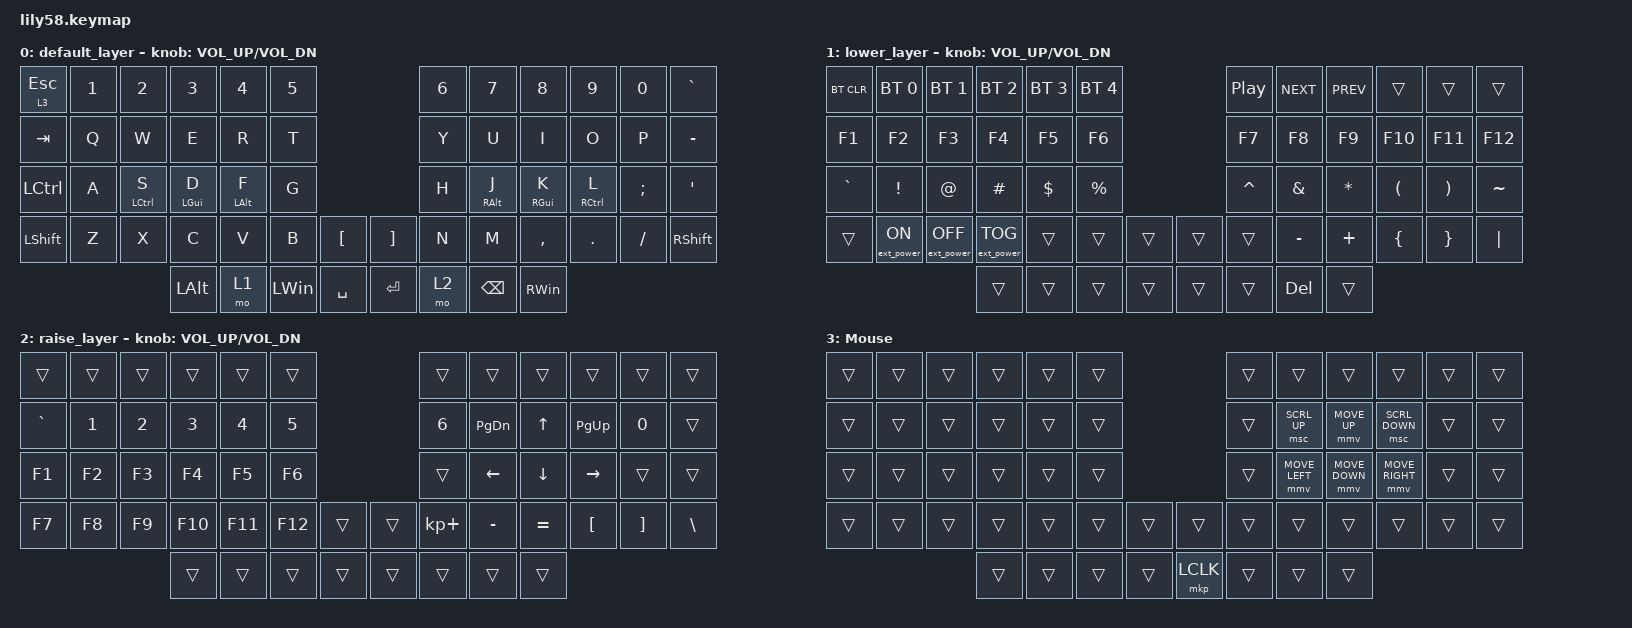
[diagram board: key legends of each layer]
/*
 * Copyright (c) 2020 The ZMK Contributors
 *
 * SPDX-License-Identifier: MIT
 */

#include <behaviors.dtsi>
#include <dt-bindings/zmk/bt.h>
#include <dt-bindings/zmk/ext_power.h>
#include <dt-bindings/zmk/keys.h>
#include <dt-bindings/zmk/pointing.h>

#define ZMK_POINTING_DEFAULT_SCRL_VAL 15

/ {
    behaviors {
        home_row_j: home_row_j {
            compatible = "zmk,behavior-hold-tap";
            label = "HOME_ROW_J";
            #binding-cells = <2>;
            tapping-term-ms = <200>;
            bindings = <&kp>, <&kp>;

            flavor = "tap-preferred";
        };

        home_row_k: home_row_k {
            compatible = "zmk,behavior-hold-tap";
            label = "HOME_ROW_K";
            #binding-cells = <2>;
            tapping-term-ms = <200>;
            bindings = <&kp>, <&kp>;

            flavor = "tap-preferred";
        };

        home_row_l: home_row_l {
            compatible = "zmk,behavior-hold-tap";
            label = "HOME_ROW_L";
            #binding-cells = <2>;
            tapping-term-ms = <200>;
            bindings = <&kp>, <&kp>;

            flavor = "tap-preferred";
        };

        home_row_f: home_row_f {
            compatible = "zmk,behavior-hold-tap";
            label = "HOME_ROW_F";
            #binding-cells = <2>;
            tapping-term-ms = <200>;
            bindings = <&kp>, <&kp>;

            flavor = "tap-preferred";
        };

        home_row_d: home_row_d {
            compatible = "zmk,behavior-hold-tap";
            label = "HOME_ROW_D";
            #binding-cells = <2>;
            tapping-term-ms = <200>;
            bindings = <&kp>, <&kp>;

            flavor = "tap-preferred";
        };

        home_row_s: home_row_s {
            compatible = "zmk,behavior-hold-tap";
            label = "HOME_ROW_S";
            #binding-cells = <2>;
            tapping-term-ms = <200>;
            bindings = <&kp>, <&kp>;

            flavor = "tap-preferred";
        };
    };

    keymap {
        compatible = "zmk,keymap";

        default_layer {
            // ------------------------------------------------------------------------------------------------------------
            // |  ESC  |  1  |  2  |  3   |  4   |  5   |                   |  6   |  7    |  8    |  9   |   0   |   `   |
            // |  TAB  |  Q  |  W  |  E   |  R   |  T   |                   |  Y   |  U    |  I    |  O   |   P   |   -   |
            // |  CTRL |  A  |  S  |  D   |  F   |  G   |                   |  H   |  J    |  K    |  L   |   ;   |   '   |
            // | SHIFT |  Z  |  X  |  C   |  V   |  B   |   "["  |  |  "]"  |  N   |  M    |  ,    |  .   |   /   | SHIFT |
            //                     | ALT  | GUI  | LOWER|  SPACE |  | ENTER | RAISE| BSPC  | GUI   |

            bindings = <
&lt 3 ESCAPE    &kp N1  &kp N2               &kp N3                  &kp N4                  &kp N5                               &kp N6  &kp N7                   &kp N8                   &kp N9               &kp N0    &kp GRAVE
&kp TAB         &kp Q   &kp W                &kp E                   &kp R                   &kp T                                &kp Y   &kp U                    &kp I                    &kp O                &kp P     &kp MINUS
&kp LCTRL       &kp A   &home_row_s LCTRL S  &home_row_d LEFT_GUI D  &home_row_f LEFT_ALT F  &kp G                                &kp H   &home_row_j RIGHT_ALT J  &home_row_k RIGHT_GUI K  &home_row_l RCTRL L  &kp SEMI  &kp SQT
&kp LEFT_SHIFT  &kp Z   &kp X                &kp C                   &kp V                   &kp B         &kp LBKT     &kp RBKT  &kp N   &kp M                    &kp COMMA                &kp DOT              &kp FSLH  &kp RSHFT
                                             &kp LALT                &mo 1                   &kp LEFT_WIN  &kp SPACE    &kp RET   &mo 2   &kp BSPC                 &kp RIGHT_WIN
            >;

            sensor-bindings = <&inc_dec_kp C_VOL_UP C_VOL_DN>;
        };

        lower_layer {
            // ------------------------------------------------------------------------------------------------------------
            // | BTCLR | BT1 | BT2 |  BT3 |  BT4 |  BT5 |                   |      |       |       |      |       |       |
            // |  F1   |  F2 |  F3 |  F4  |  F5  |  F6  |                   |  F7  |  F8   |  F9   |  F10 |  F11  |  F12  |
            // |   `   |  !  |  @  |  #   |  $   |  %   |                   |  ^   |  &    |  *    |  (   |   )   |   ~   |
            // |       |     |     |      |      |      |        |  |       |      |  _    |  +    |  {   |   }   |  "|"  |
            //                     |      |      |      |        |  |       |      |       |       |

            bindings = <
&bt BT_CLR  &bt BT_SEL 0      &bt BT_SEL 1       &bt BT_SEL 2       &bt BT_SEL 3  &bt BT_SEL 4                    &kp C_PLAY_PAUSE  &kp C_NEXT  &kp C_PREV  &trans    &trans    &trans
&kp F1      &kp F2            &kp F3             &kp F4             &kp F5        &kp F6                          &kp F7            &kp F8      &kp F9      &kp F10   &kp F11   &kp F12
&kp GRAVE   &kp EXCL          &kp AT             &kp HASH           &kp DOLLAR    &kp PRCNT                       &kp CARET         &kp AMPS    &kp ASTRK   &kp LPAR  &kp RPAR  &kp TILDE
&trans      &ext_power EP_ON  &ext_power EP_OFF  &ext_power EP_TOG  &trans        &trans        &trans    &trans  &trans            &kp MINUS   &kp PLUS    &kp LBRC  &kp RBRC  &kp PIPE
                                                 &trans             &trans        &trans        &trans    &trans  &trans            &kp DELETE  &trans
            >;

            sensor-bindings = <&inc_dec_kp C_VOL_UP C_VOL_DN>;
        };

        raise_layer {
            // ------------------------------------------------------------------------------------------------------------
            // |       |     |     |      |      |      |                   |      |       |       |      |       |       |
            // |   `   |  1  |  2  |  3   |  4   |  5   |                   |  6   |   7   |   8   |  9   |   0   |       |
            // |   F1  |  F2 |  F3 |  F4  |  F5  |  F6  |                   |      |   <-  |   v   |  ^   |  ->   |       |
            // |   F7  |  F8 |  F9 |  F10 |  F11 |  F12 |        |  |       |  +   |   -   |   =   |  [   |   ]   |   \   |
            //                     |      |      |      |        |  |       |      |       |       |

            bindings = <
&trans     &trans  &trans  &trans   &trans   &trans                     &trans       &trans         &trans        &trans       &trans    &trans
&kp GRAVE  &kp N1  &kp N2  &kp N3   &kp N4   &kp N5                     &kp N6       &kp PAGE_DOWN  &kp UP_ARROW  &kp PAGE_UP  &kp N0    &trans
&kp F1     &kp F2  &kp F3  &kp F4   &kp F5   &kp F6                     &trans       &kp LEFT       &kp DOWN      &kp RIGHT    &trans    &trans
&kp F7     &kp F8  &kp F9  &kp F10  &kp F11  &kp F12  &trans    &trans  &kp KP_PLUS  &kp MINUS      &kp EQUAL     &kp LBKT     &kp RBKT  &kp BSLH
                           &trans   &trans   &trans   &trans    &trans  &trans       &trans         &trans
            >;

            sensor-bindings = <&inc_dec_kp C_VOL_UP C_VOL_DN>;
        };

        Mouse {
            bindings = <
&trans  &trans  &trans  &trans  &trans  &trans                       &trans  &trans          &trans          &trans           &trans  &trans
&trans  &trans  &trans  &trans  &trans  &trans                       &trans  &msc SCRL_UP    &mmv MOVE_UP    &msc SCRL_DOWN   &trans  &trans
&trans  &trans  &trans  &trans  &trans  &trans                       &trans  &mmv MOVE_LEFT  &mmv MOVE_DOWN  &mmv MOVE_RIGHT  &trans  &trans
&trans  &trans  &trans  &trans  &trans  &trans  &trans    &trans     &trans  &trans          &trans          &trans           &trans  &trans
                        &trans  &trans  &trans  &trans    &mkp LCLK  &trans  &trans          &trans
            >;
        };
    };
};
